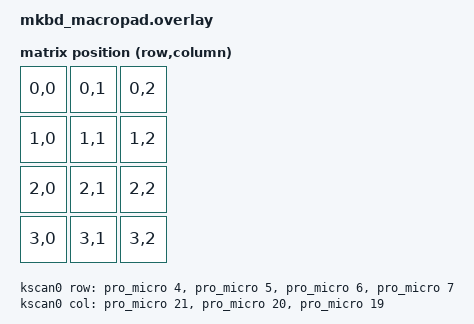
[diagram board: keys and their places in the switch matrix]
#include <dt-bindings/zmk/matrix_transform.h>

/ {
    chosen {
        zmk,kscan = &kscan0;
        zmk,matrix_transform = &default_transform;
        zephyr,display = &oled;
        zmk,battery = &vbatt;
    };

    vbatt: vbatt {
        compatible = "zmk,battery-nrf-vddh";
    };

    default_transform: keymap_transform_0 {
        compatible = "zmk,matrix-transform";
        columns = <3>;
        rows = <4>;
        map = <
            RC(0,0) RC(0,1) RC(0,2)
            RC(1,0) RC(1,1) RC(1,2)
            RC(2,0) RC(2,1) RC(2,2)
            RC(3,0) RC(3,1) RC(3,2)
        >;
    };

    kscan0: kscan {
        compatible = "zmk,kscan-gpio-matrix";
        label = "KSCAN";
        diode-direction = "col2row";
        
        col-gpios = <&pro_micro 21 GPIO_ACTIVE_HIGH>,
                    <&pro_micro 20 GPIO_ACTIVE_HIGH>,
                    <&pro_micro 19 GPIO_ACTIVE_HIGH>;
        
        row-gpios = <&pro_micro 4 (GPIO_ACTIVE_HIGH | GPIO_PULL_DOWN)>,
                    <&pro_micro 5 (GPIO_ACTIVE_HIGH | GPIO_PULL_DOWN)>,
                    <&pro_micro 6 (GPIO_ACTIVE_HIGH | GPIO_PULL_DOWN)>,
                    <&pro_micro 7 (GPIO_ACTIVE_HIGH | GPIO_PULL_DOWN)>;
    };
};

&pro_micro_i2c {
    status = "okay";

    oled: ssd1306@3c {
        compatible = "solomon,ssd1306fb";
        reg = <0x3c>;
        width = <128>;
        height = <32>;
        segment-offset = <0>;
        page-offset = <0>;
        display-offset = <0>;
        multiplex-ratio = <31>;
        segment-remap;
        com-invdir;
        com-sequential;
        inversion-on;
        prechargep = <0x22>;
    };
};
